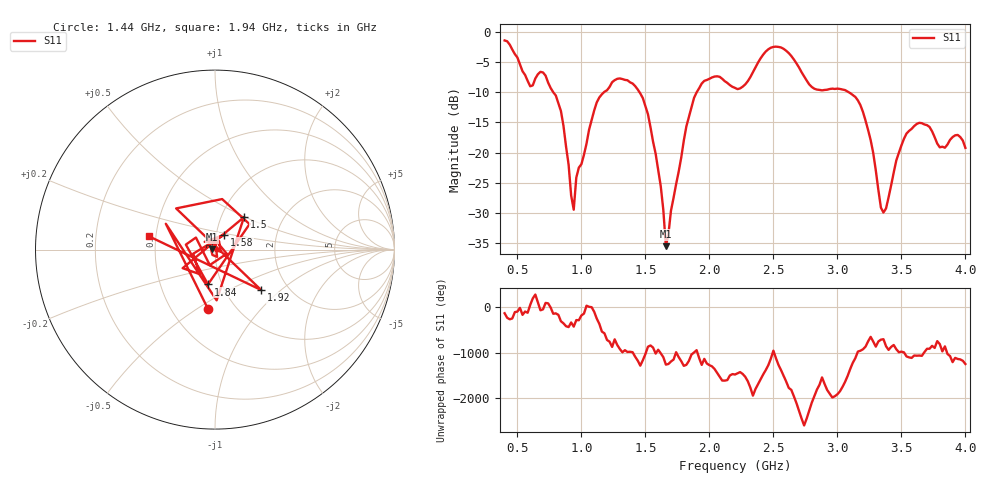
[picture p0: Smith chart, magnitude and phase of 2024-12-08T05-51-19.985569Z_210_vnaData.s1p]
!Created with skrf (http://scikit-rf.org).
# Hz S RI R 50.0
!freq ReS11 ImS11
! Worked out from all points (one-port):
!   181 points, 400 MHz to 4 GHz, reference 50 ohm
!   lowest |S11| = -35.5 dB at 1.66 GHz (marker M1), VSWR 1.03, Z = 48.4 + j0.15 ohm
!   |S11| at or under -10 dB: 780.3 MHz to 1.176 GHz (395.4 MHz wide, 40.4 % of centre); 1.454 GHz to 1.901 GHz (446.3 MHz wide, 26.6 % of centre); 3.089 GHz to end of sweep
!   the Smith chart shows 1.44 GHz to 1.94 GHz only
!   S11 on the Smith chart (normalised r, x): 1.44 GHz: 0.75, -0.56; 1.5 GHz: 1.28, +0.49; 1.58 GHz: 1.09, +0.18; 1.84 GHz: 0.86, -0.35; 1.92 GHz: 1.47, -0.75; 1.94 GHz: 0.46, +0.08
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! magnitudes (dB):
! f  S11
! 400 MHz  -1.4
! 600 MHz  -9.0
! 720 MHz  -7.2
! 860 MHz  -15.6
! 940 MHz  -29.5
! 960 MHz  -24.2
! 1.12 GHz  -11.7
! 1.3 GHz  -7.7
! 1.44 GHz  -9.5
! 1.5 GHz  -12.3
! 1.58 GHz  -20.2
! 1.62 GHz  -25.6
! 1.66 GHz  -35.5
! 1.76 GHz  -23.2
! 1.84 GHz  -14.1
! 1.92 GHz  -9.3
! 1.94 GHz  -8.5
! 2.2 GHz  -9.3
! 2.48 GHz  -2.6
! 2.66 GHz  -4.6
! 2.82 GHz  -9.4
! 3.1 GHz  -10.1
! 3.22 GHz  -14.7
! 3.36 GHz  -30.0
! 3.56 GHz  -16.4
! 3.66 GHz  -15.1
! 3.8 GHz  -19.1
! 4 GHz  -19.2
